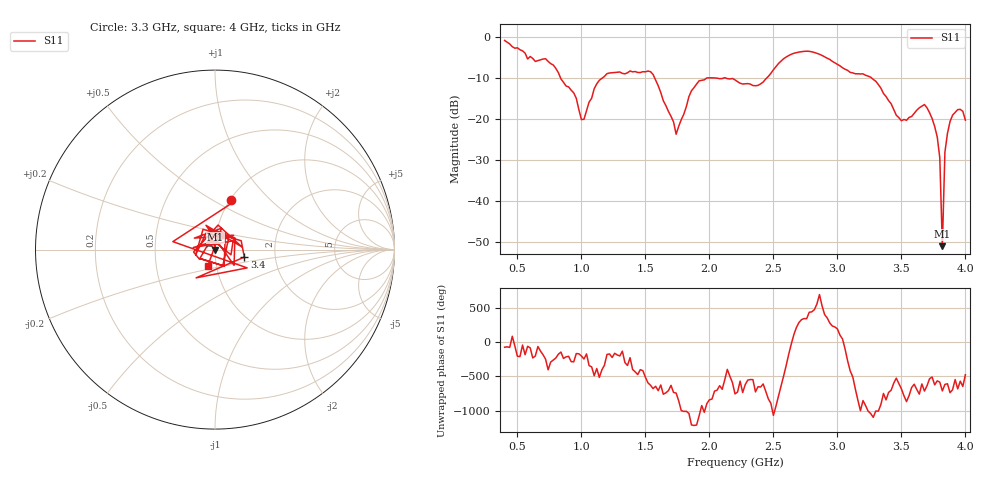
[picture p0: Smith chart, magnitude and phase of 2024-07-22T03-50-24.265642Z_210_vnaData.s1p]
!Created with skrf (http://scikit-rf.org).
# Hz S RI R 50.0
!freq ReS11 ImS11
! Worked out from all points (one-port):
!   181 points, 400 MHz to 4 GHz, reference 50 ohm
!   lowest |S11| = -51.0 dB at 3.82 GHz (marker M1), VSWR 1.01, Z = 50.3 + j0.0365 ohm
!   |S11| at or under -10 dB: 838.1 MHz to 1.16 GHz (322.3 MHz wide, 32.3 % of centre); 1.573 GHz to 1.976 GHz (403.1 MHz wide, 22.7 % of centre); 3.27 GHz to end of sweep (the widest 3 of 5)
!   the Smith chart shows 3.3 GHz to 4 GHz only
!   S11 on the Smith chart (normalised r, x): 3.3 GHz: 1.01, +0.61; 3.4 GHz: 1.38, -0.12; 4 GHz: 0.91, -0.16
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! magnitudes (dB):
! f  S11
! 400 MHz  -0.8
! 580 MHz  -5.3
! 720 MHz  -5.2
! 860 MHz  -11.0
! 940 MHz  -13.6
! 1.02 GHz  -20.0
! 1.14 GHz  -10.5
! 1.3 GHz  -8.5
! 1.54 GHz  -8.4
! 1.74 GHz  -23.7
! 1.76 GHz  -21.8
! 1.92 GHz  -10.6
! 2.2 GHz  -10.4
! 2.38 GHz  -11.7
! 2.66 GHz  -3.9
! 3.1 GHz  -8.6
! 3.3 GHz  -10.7
! 3.4 GHz  -15.5
! 3.5 GHz  -20.4
! 3.56 GHz  -19.6
! 3.68 GHz  -16.4
! 3.76 GHz  -21.8
! 3.8 GHz  -29.4
! 3.82 GHz  -51.0
! 3.84 GHz  -28.1
! 3.86 GHz  -23.5
! 3.94 GHz  -17.7
! 4 GHz  -20.3
